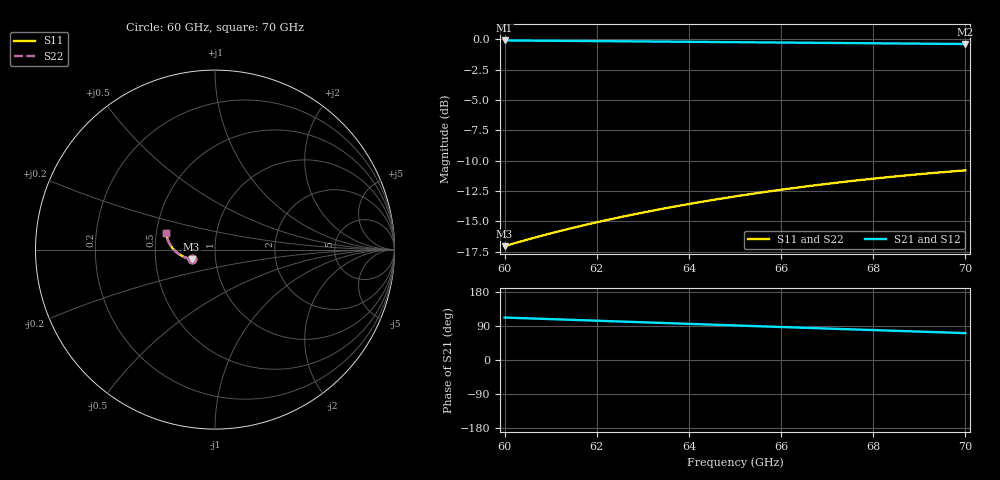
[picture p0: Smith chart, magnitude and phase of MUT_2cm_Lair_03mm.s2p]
! TOUCHSTONE file generated by CST MICROWAVE STUDIO
! Date and time: Sun Mar  3 12:09:19 2024
! Project name: material_angular.cst
! Parameters = {d=8.7; Yi=5; iiii=5; exis2=5; exis=5; X=5; Z=5; Y=2}
! Header version: 2018
! Port assignment regex: !\s*Touchstone port\s*([0-9]+)\s*=\s*(CST MWS port|CST DS port)\s*([0-9]+|Zmin|Zmax)\s*\(\"(.*)\"\)(\s*mode\s*([0-9]+))?.*
! Touchstone port assignment:
! Touchstone port 1 = CST MWS port 1 ("")
! Touchstone port 2 = CST MWS port 2 ("")
# GHz S MA R 376.7
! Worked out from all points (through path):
!   1001 points, 60 GHz to 70 GHz, reference 376.7 ohm
!   highest |S21| = -0.09 dB at 60 GHz (marker M1); lowest = -0.4 dB at 70 GHz (marker M2)
!   group delay of S21, straight-line fit = 11.4 ps
!   lowest |S11| = -17.0 dB at 60 GHz (marker M3), VSWR 1.33, Z = 288 - j30.9 ohm
!   |S11| at or under -10 dB: start of sweep to end of sweep
!   |S22| runs from -17.0 to -10.8 dB; largest |S21 - S12| = 0.00033
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60  0.1407 -158.1  0.9901 112.0  0.9898 112.0  0.1407 -157.9
60.05  0.1416 -158.3  0.99 111.8  0.9897 111.8  0.1416 -158.1
60.45  0.1489 -160.0  0.9889 110.1  0.9886 110.1  0.1489 -159.8
60.87  0.1565 -161.7  0.9878 108.3  0.9875 108.3  0.1565 -161.6
61.26  0.1635 -163.4  0.9866 106.7  0.9864 106.7  0.1635 -163.2
61.67  0.1707 -165.1  0.9853 105.0  0.9852 105.0  0.1707 -164.9
62.09  0.178 -166.9  0.984 103.2  0.984 103.2  0.178 -166.7
62.51  0.1853 -168.6  0.9827 101.4  0.9828 101.4  0.1853 -168.5
62.92  0.1922 -170.3  0.9813 99.7  0.9815 99.7  0.1922 -170.2
63.34  0.1992 -172.1  0.9799 98.0  0.9801 98.0  0.1992 -171.9
63.75  0.2059 -173.8  0.9785 96.3  0.9788 96.3  0.2059 -173.7
64.17  0.2126 -175.5  0.9771 94.6  0.9774 94.6  0.2126 -175.4
64.58  0.2191 -177.2  0.9757 92.9  0.9759 92.9  0.2191 -177.1
65  0.2255 -178.9  0.9742 91.1  0.9745 91.1  0.2256 -178.8
65.41  0.2317 179.4  0.9728 89.5  0.973 89.5  0.2317 179.5
65.83  0.2379 177.7  0.9713 87.7  0.9715 87.7  0.2379 177.8
66.67  0.2497 174.2  0.9684 84.3  0.9684 84.3  0.2497 174.4
67.5  0.2607 170.9  0.9655 80.9  0.9654 80.9  0.2607 171.0
68.34  0.271 167.5  0.9627 77.6  0.9625 77.6  0.2711 167.6
69.11  0.2797 164.4  0.9601 74.5  0.9601 74.5  0.2798 164.5
69.95  0.2883 161.1  0.9574 71.1  0.9577 71.1  0.2884 161.1
70  0.2888 160.9  0.9573 70.9  0.9575 70.9  0.2888 160.9
